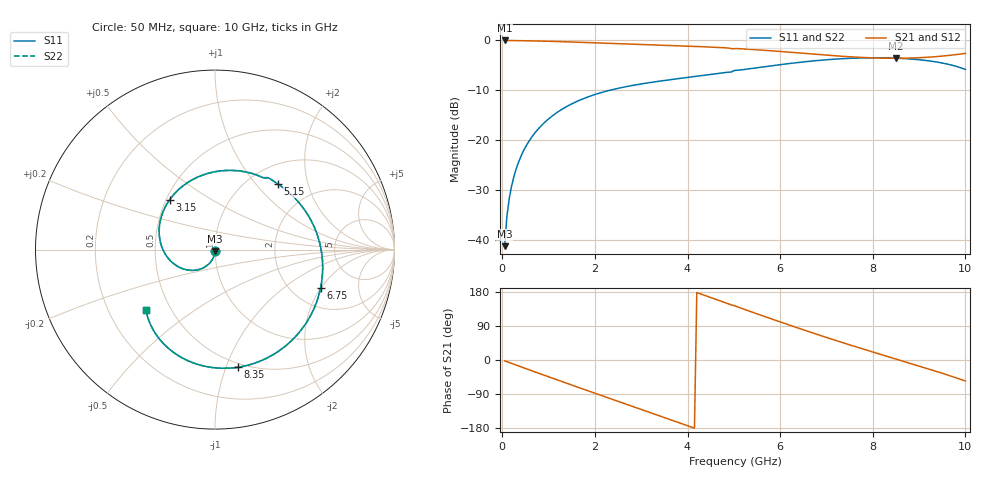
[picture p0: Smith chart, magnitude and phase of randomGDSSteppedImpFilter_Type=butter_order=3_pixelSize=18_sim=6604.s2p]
! freq	dB(S11)	phase(S11)	dB(S12)	phase(S12)
!  dB(S21)	phase(S21)	dB(S22)	phase(S22)
!S-par simulation data
#  GHz  S  DB  R 50
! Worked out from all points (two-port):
!   200 points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, 50 MHz to 10 GHz, reference 50 ohm
!   highest |S21| = 0.00 dB at 50 MHz (marker M1); lowest = -3.6 dB at 8.5 GHz (marker M2)
!   |S21| within 3 dB of the highest: start of sweep to 7.073 GHz; 9.644 GHz to end of sweep
!   lowest |S11| = -41.2 dB at 50 MHz (marker M3), VSWR 1.02, Z = 50 - j0.865 ohm
!   |S11| at or under -10 dB: start of sweep to 2.318 GHz
!   |S22| runs from -41.2 to -3.5 dB; largest |S21 - S12| = 0
!   S11 on the Smith chart (normalised r, x): 50 MHz: 1.00, -0.02; 3.15 GHz: 0.52, +0.34; 5.15 GHz: 1.33, +1.31; 6.75 GHz: 2.84, -1.98; 8.35 GHz: 0.46, -1.10; 10 GHz: 0.36, -0.33
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0.05  -41.25 -92.0  -0.00 -2.2  -0.00 -2.2  -41.25 -92.0
0.1  -35.23 -94.4  -0.01 -4.5  -0.01 -4.5  -35.23 -94.5
0.2  -29.23 -99.1  -0.02 -9.0  -0.02 -9.0  -29.23 -99.1
0.35  -24.42 -106.0  -0.04 -15.7  -0.04 -15.7  -24.42 -106.0
0.5  -21.39 -112.8  -0.06 -22.3  -0.06 -22.3  -21.39 -112.8
1.15  -14.65 -141.7  -0.21 -50.9  -0.21 -50.9  -14.65 -141.7
1.75  -11.68 -167.8  -0.40 -76.9  -0.40 -76.9  -11.68 -167.9
2.4  -9.81 164.3  -0.61 -104.8  -0.61 -104.8  -9.81 164.2
3.15  -8.50 132.3  -0.85 -136.8  -0.85 -136.8  -8.50 132.1
3.4  -8.16 121.5  -0.93 -147.6  -0.93 -147.6  -8.16 121.3
3.8  -7.66 104.4  -1.06 -164.7  -1.06 -164.7  -7.65 104.2
4.2  -7.17 87.1  -1.21 178.0  -1.21 178.0  -7.17 86.9
5.05  -6.01 50.8  -1.63 141.5  -1.63 141.5  -6.00 50.7
5.15  -5.91 46.4  -1.66 137.0  -1.66 137.0  -5.91 46.2
5.9  -4.98 14.6  -2.14 104.7  -2.14 104.7  -4.98 14.5
6.7  -4.12 -17.8  -2.73 71.5  -2.73 71.5  -4.12 -17.9
6.75  -4.07 -19.8  -2.77 69.5  -2.77 69.5  -4.07 -19.9
7.55  -3.57 -50.3  -3.30 38.1  -3.30 38.1  -3.57 -50.3
8.35  -3.51 -79.1  -3.57 8.1  -3.57 8.1  -3.51 -79.0
8.5  -3.55 -84.3  -3.58 2.6  -3.58 2.6  -3.55 -84.3
9.2  -4.08 -108.9  -3.36 -23.4  -3.36 -23.4  -4.07 -108.8
10  -5.81 -138.7  -2.60 -55.5  -2.60 -55.5  -5.81 -138.5
